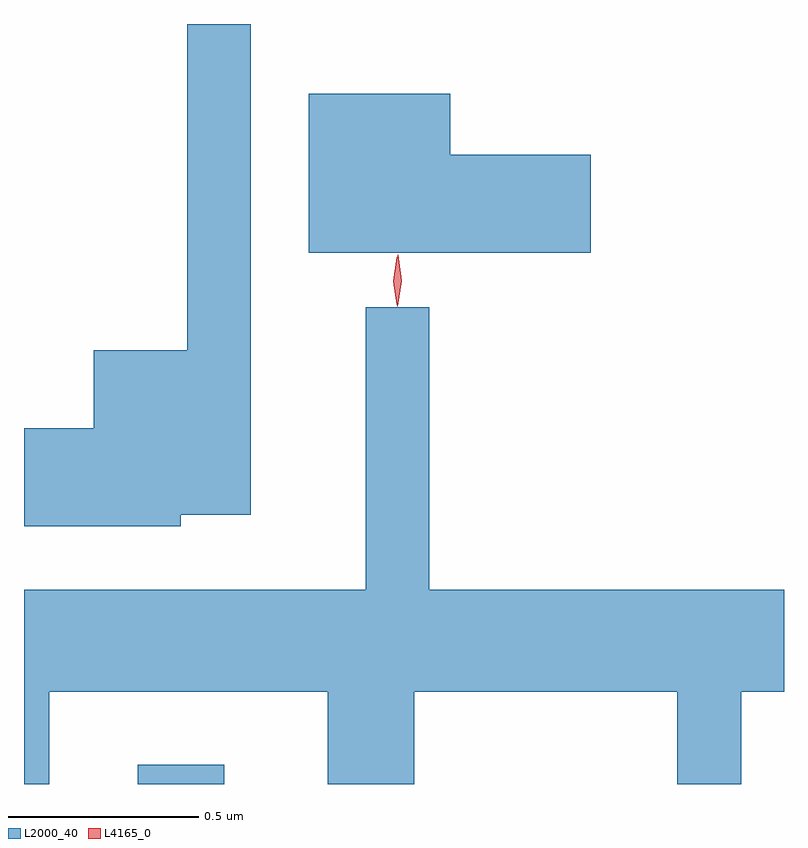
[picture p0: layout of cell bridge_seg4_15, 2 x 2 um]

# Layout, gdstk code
import gdstk
lib = gdstk.Library(unit=1e-6, precision=1e-09)
def R(c, l, rs):  # rectangles x0, y0, x1, y1
    for r in rs: c.add(gdstk.rectangle(r[:2], r[2:], *l))
def P(c, l, *ps):  # polygons
    for p in ps: c.add(gdstk.Polygon(p, *l))
L2000_40 = (2000, 40)
L4165_0 = (4165, 0)

bridge_seg4_15 = lib.new_cell('bridge_seg4_15')
R(bridge_seg4_15, L2000_40, [(1169.641,1332.233,1169.869,1332.284)])
P(bridge_seg4_15, L2000_40, [(1169.754,1332.941),(1169.939,1332.941),(1169.939,1334.233),(1169.771,1334.233),(1169.771,1333.374),(1169.526,1333.374),(1169.526,1333.169),(1169.342,1333.169),(1169.342,1332.911),(1169.754,1332.911)],
  [(1170.834,1333.889),(1170.464,1333.889),(1170.464,1334.049),(1170.091,1334.049),(1170.091,1333.631),(1170.834,1333.631)],
  [(1169.409,1332.476),(1170.141,1332.476),(1170.141,1332.233),(1170.369,1332.233),(1170.369,1332.476),(1171.061,1332.476),(1171.061,1332.233),(1171.229,1332.233),(1171.229,1332.476),(1171.342,1332.476),(1171.342,1332.744),(1170.409,1332.744),(1170.409,1333.488),(1170.241,1333.488),(1170.241,1332.744),(1169.342,1332.744),(1169.342,1332.233),(1169.409,1332.233)])
P(bridge_seg4_15, L4165_0, [(1170.324,1333.49),(1170.316,1333.558),(1170.326,1333.626),(1170.327,1333.626),(1170.327,1333.626),(1170.336,1333.558),(1170.325,1333.49),(1170.325,1333.49)],
  [(1170.324,1333.493),(1170.323,1333.494),(1170.314,1333.556),(1170.323,1333.619),(1170.324,1333.62),(1170.324,1333.619),(1170.334,1333.556),(1170.324,1333.494)])

lib.write_gds('bridge_seg4_15.gds')
